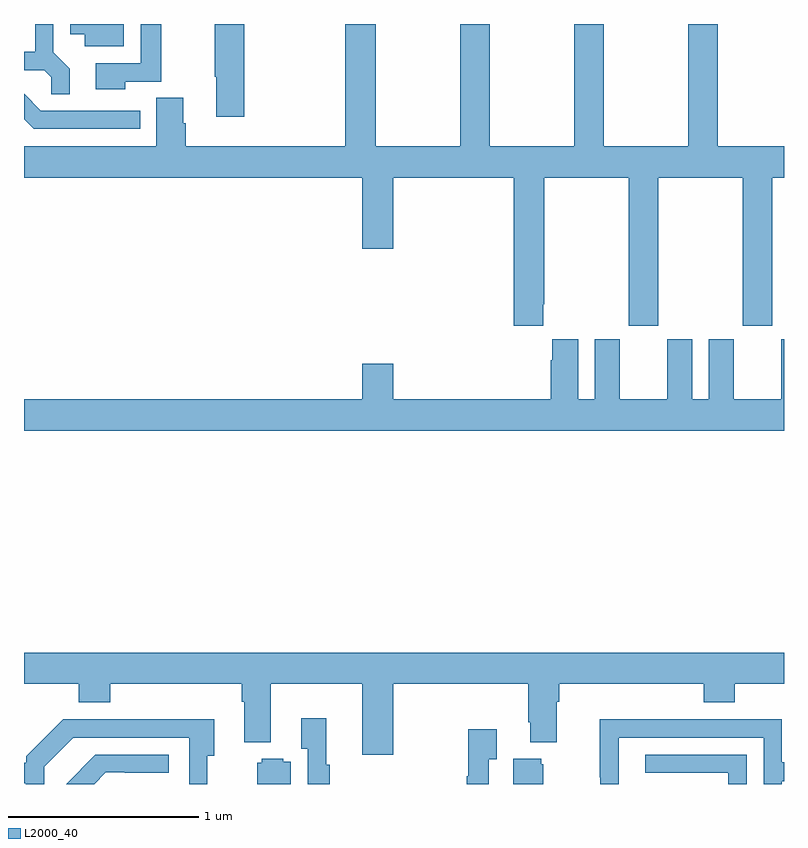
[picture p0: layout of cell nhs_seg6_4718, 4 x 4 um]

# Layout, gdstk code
import gdstk
lib = gdstk.Library(unit=1e-6, precision=1e-09)
def P(c, l, *ps):  # polygons
    for p in ps: c.add(gdstk.Polygon(p, *l))
L2000_40 = (2000, 40)

nhs_seg6_4718 = lib.new_cell('nhs_seg6_4718')
P(nhs_seg6_4718, L2000_40, [(393.733,924.025),(393.738,924.025),(393.738,924.692),(394.183,924.692),(394.183,923.913),(394.338,923.913),(394.338,924.692),(394.783,924.692),(394.783,923.913),(394.938,923.913),(394.938,924.692),(395,924.692),(395,924.856),(394.65,924.856),(394.65,925.5),(394.495,925.5),(394.495,924.856),(394.05,924.856),(394.05,925.5),(393.895,925.5),(393.895,924.856),(393.45,924.856),(393.45,925.5),(393.295,925.5),(393.295,924.856),(392.85,924.856),(392.85,925.5),(392.69,925.5),(392.69,924.856),(391.85,924.856),(391.85,924.978),(391.837,924.978),(391.837,925.112),(391.697,925.112),(391.697,924.856),(391,924.856),(391,924.692),(392.78,924.692),(392.78,924.318),(392.944,924.318),(392.944,924.692),(393.578,924.692),(393.578,923.913),(393.733,923.913)],
  [(391.525,925.5),(391.244,925.5),(391.244,925.445),(391.319,925.445),(391.319,925.382),(391.525,925.382)],
  [(391.241,925.265),(391.155,925.351),(391.155,925.5),(391.058,925.5),(391.058,925.354),(391,925.354),(391,925.257),(391.106,925.257),(391.143,925.22),(391.143,925.129),(391.241,925.129)],
  [(392.159,925.5),(392.005,925.5),(392.005,925.223),(392.012,925.223),(392.012,925.011),(392.159,925.011)],
  [(391.533,925.197),(391.723,925.197),(391.723,925.5),(391.614,925.5),(391.614,925.293),(391.377,925.293),(391.377,925.157),(391.533,925.157)],
  [(391.612,925.044),(391.089,925.044),(391,925.133),(391,924.998),(391.05,924.948),(391.612,924.948)],
  [(395,923.842),(394.985,923.842),(394.985,923.524),(394.735,923.524),(394.735,923.842),(394.604,923.842),(394.604,923.524),(394.516,923.524),(394.516,923.842),(394.385,923.842),(394.385,923.524),(394.135,923.524),(394.135,923.842),(394.004,923.842),(394.004,923.524),(393.916,923.524),(393.916,923.842),(393.779,923.842),(393.779,923.729),(393.773,923.729),(393.773,923.524),(392.944,923.524),(392.944,923.713),(392.78,923.713),(392.78,923.524),(391,923.524),(391,923.36),(395,923.36)],
  [(391,922.028),(391.289,922.028),(391.289,921.929),(391.454,921.929),(391.454,922.028),(392.147,922.028),(392.147,921.932),(392.159,921.932),(392.159,921.719),(392.299,921.719),(392.299,922.028),(392.78,922.028),(392.78,921.654),(392.944,921.654),(392.944,922.028),(393.653,922.028),(393.653,921.826),(393.665,921.826),(393.665,921.719),(393.805,921.719),(393.805,921.932),(393.818,921.932),(393.818,922.028),(394.577,922.028),(394.577,921.929),(394.742,921.929),(394.742,922.028),(395,922.028),(395,922.192),(391,922.192)],
  [(392.609,921.602),(392.591,921.602),(392.591,921.847),(392.459,921.847),(392.459,921.686),(392.493,921.686),(392.493,921.5),(392.609,921.5)],
  [(394.129,921.744),(394.893,921.744),(394.893,921.5),(394.989,921.5),(394.989,921.514),(395,921.514),(395,921.615),(394.989,921.615),(394.989,921.84),(394.493,921.84),(394.493,921.842),(394.03,921.842),(394.03,921.535),(394.032,921.535),(394.032,921.5),(394.129,921.5)],
  [(391.107,921.591),(391.26,921.744),(391.869,921.744),(391.869,921.5),(391.965,921.5),(391.965,921.65),(392.002,921.65),(392.002,921.842),(391.537,921.842),(391.537,921.84),(391.206,921.84),(391.011,921.645),(391.011,921.613),(391,921.613),(391,921.504),(391.01,921.504),(391.01,921.5),(391.107,921.5)],
  [(393.447,921.631),(393.487,921.631),(393.487,921.787),(393.339,921.787),(393.339,921.542),(393.331,921.542),(393.331,921.5),(393.447,921.5)],
  [(391.431,921.561),(391.531,921.561),(391.531,921.558),(391.762,921.558),(391.762,921.654),(391.376,921.654),(391.222,921.5),(391.37,921.5)],
  [(394.803,921.654),(394.269,921.654),(394.269,921.558),(394.707,921.558),(394.707,921.5),(394.803,921.5)],
  [(393.733,921.603),(393.722,921.603),(393.722,921.634),(393.575,921.634),(393.575,921.5),(393.733,921.5)],
  [(392.404,921.616),(392.364,921.616),(392.364,921.634),(392.25,921.634),(392.25,921.612),(392.228,921.612),(392.228,921.5),(392.404,921.5)])

lib.write_gds('nhs_seg6_4718.gds')
